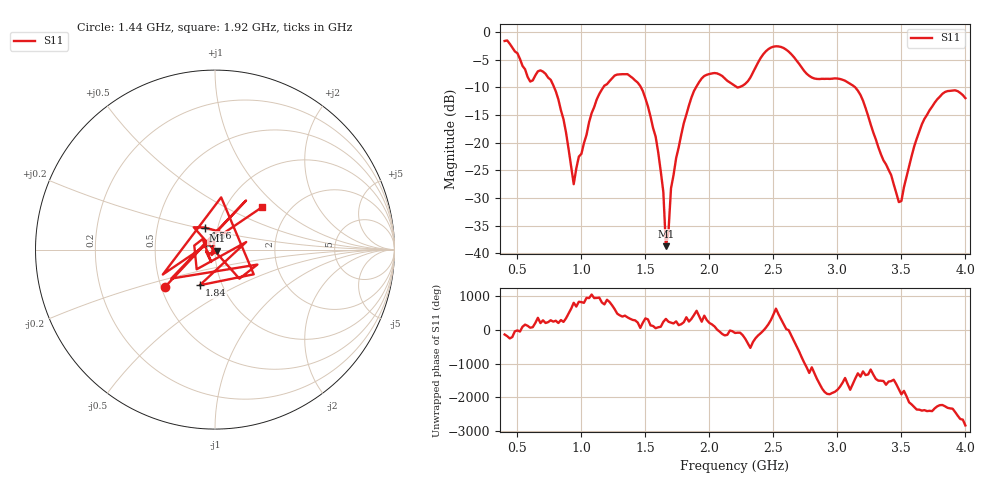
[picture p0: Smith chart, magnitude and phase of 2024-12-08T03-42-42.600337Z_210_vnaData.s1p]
!Created with skrf (http://scikit-rf.org).
# Hz S RI R 50.0
!freq ReS11 ImS11
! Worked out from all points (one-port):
!   181 points, 400 MHz to 4 GHz, reference 50 ohm
!   lowest |S11| = -38.7 dB at 1.66 GHz (marker M1), VSWR 1.02, Z = 51 - j0.659 ohm
!   |S11| at or under -10 dB: 786.6 MHz to 1.172 GHz (385.2 MHz wide, 39.3 % of centre); 1.465 GHz to 1.896 GHz (431.4 MHz wide, 25.7 % of centre); 3.138 GHz to end of sweep (the widest 3 of 4)
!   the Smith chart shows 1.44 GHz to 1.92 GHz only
!   S11 on the Smith chart (normalised r, x): 1.44 GHz: 0.52, -0.25; 1.56 GHz: 0.87, +0.22; 1.84 GHz: 0.78, -0.33; 1.92 GHz: 1.46, +0.78
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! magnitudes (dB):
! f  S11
! 400 MHz  -1.7
! 600 MHz  -9.0
! 760 MHz  -8.7
! 860 MHz  -15.8
! 940 MHz  -27.5
! 1.12 GHz  -12.2
! 1.3 GHz  -7.7
! 1.44 GHz  -9.2
! 1.56 GHz  -17.4
! 1.64 GHz  -28.9
! 1.66 GHz  -38.7
! 1.68 GHz  -36.2
! 1.7 GHz  -28.3
! 1.76 GHz  -20.9
! 1.84 GHz  -13.3
! 1.92 GHz  -9.1
! 2.04 GHz  -7.4
! 2.2 GHz  -9.8
! 2.48 GHz  -2.9
! 2.66 GHz  -4.6
! 2.8 GHz  -8.2
! 3.1 GHz  -9.4
! 3.2 GHz  -12.4
! 3.48 GHz  -30.7
! 3.56 GHz  -24.3
! 3.66 GHz  -16.7
! 3.78 GHz  -12.2
! 4 GHz  -12.0
